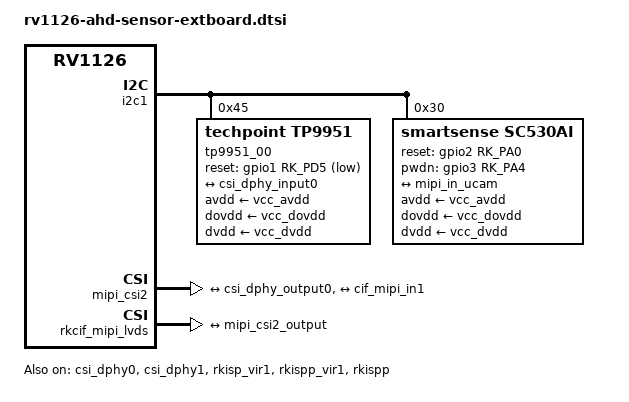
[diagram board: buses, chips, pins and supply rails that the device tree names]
// SPDX-License-Identifier: (GPL-2.0+ OR MIT)
/*
 * Copyright (c) 2023 Rockchip Electronics Co., Ltd.
 *
 * Version  Sensor      I2C_ADDR    Lanes
 * v1.0.0   adh(tp9951) 0x45        lane0~1(dphy1)
 *          sc500ai     0x30        lane2~3(dphy2)
 */

&i2c1 {
	/delete-node/ ar0230@10;
	/delete-node/ ov4689@36;
	/delete-node/ os04a10@36;
	// #/delete-node/ imx335@1a;
	// #/delete-node/ imx415@1a;
	/delete-node/ imx464@1a;
	tp9951_00: tp9951@45 {
		compatible = "techpoint,tp9951";
		status = "okay";
		reg = <0x45>;
		clocks = <&cru CLK_MIPICSI_OUT>;
		clock-names = "xvclk";
		power-domains = <&power RV1126_PD_VI>;
		pinctrl-names = "rockchip,camera_default";
		pinctrl-0 = <&mipicsi_clk0>;
		avdd-supply = <&vcc_avdd>;
		dovdd-supply = <&vcc_dovdd>;
		dvdd-supply = <&vcc_dvdd>;
		reset-gpios = <&gpio1 RK_PD5 GPIO_ACTIVE_LOW>;
		rockchip,camera-module-index = <0>;
		rockchip,camera-module-facing = "front";
		rockchip,camera-module-name = "tp9951";
		rockchip,camera-module-lens-name = "tp9951";
		port {
			ahd_out: endpoint {
				remote-endpoint = <&csi_dphy_input0>;
				data-lanes = <1 2>;
			};
		};
	};
	sc530ai: sc530ai@30 {
		compatible = "smartsense,sc530ai";
		status = "okay";
		reg = <0x30>;
		clocks = <&cru CLK_MIPICSI_OUT>;
		clock-names = "xvclk";
		power-domains = <&power RV1126_PD_VI>;
		pinctrl-names = "rockchip,camera_default";
		pinctrl-0 = <&mipicsi_clk1>;
		avdd-supply = <&vcc_avdd>;
		dovdd-supply = <&vcc_dovdd>;
		dvdd-supply = <&vcc_dvdd>;
		reset-gpios = <&gpio2 RK_PA0 GPIO_ACTIVE_HIGH>;
		pwdn-gpios = <&gpio3 RK_PA4 GPIO_ACTIVE_HIGH>;
		rockchip,camera-module-index = <1>;
		rockchip,camera-module-facing = "back";
		rockchip,camera-module-name = "CMK-OT1607-PV1";
		rockchip,camera-module-lens-name = "50IRC-F16";
		port {
			sc530ai_out: endpoint {
				remote-endpoint = <&mipi_in_ucam>;
				data-lanes = <1 2>;
			};
		};
	};
};

&csi_dphy0 {
	status = "okay";
	ports {
		#address-cells = <1>;
		#size-cells = <0>;
		port@0 {
			reg = <0>;
			#address-cells = <1>;
			#size-cells = <0>;
			csi_dphy_input0: endpoint@1 {
				reg = <1>;
				remote-endpoint = <&ahd_out>;
				data-lanes = <1 2>;
			};
		};
		port@1 {
			reg = <1>;
			#address-cells = <1>;
			#size-cells = <0>;
			csi_dphy_output0: endpoint@0 {
				reg = <0>;
				remote-endpoint = <&mipi_csi2_input>;
			};
		};
	};
};

&csi_dphy1 {
	status = "okay";
	ports {
		#address-cells = <1>;
		#size-cells = <0>;
		port@0 {
			reg = <0>;
			#address-cells = <1>;
			#size-cells = <0>;
			mipi_in_ucam: endpoint@1 {
				reg = <2>;
				remote-endpoint = <&sc530ai_out>;
				data-lanes = <1 2>;
			};
		};
		port@1 {
			reg = <1>;
			#address-cells = <1>;
			#size-cells = <0>;
			csi_dphy1_output: endpoint@0 {
				reg = <0>;
				remote-endpoint = <&isp_in1>;
			};
		};
	};
};

&mipi_csi2 {
	status = "okay";
	ports {
		port@0 {
			mipi_csi2_input: endpoint@1 {
				remote-endpoint = <&csi_dphy_output0>;
				data-lanes = <1 2>;
			};
		};
		port@1 {
			mipi_csi2_output: endpoint@0 {
				remote-endpoint = <&cif_mipi_in1>;
				data-lanes = <1 2>;
			};
		};
	};
};

&rkcif_mipi_lvds {
	status = "okay";
	port {
		cif_mipi_in1: endpoint {
			remote-endpoint = <&mipi_csi2_output>;
			data-lanes = <1 2>;
		};
	};
};

&rkcif_mipi_lvds_sditf {
	status = "disabled";
};

&rkisp_vir0 {
	status = "disabled";
};

&rkispp_vir0 {
	status = "disabled";
};

/* isp cma buffer don't fiddle with it, dual camera(1920 * 1080) need 92M buffer */
&isp_reserved {
	size = <0x6400000>;
};

&rkisp_vir1 {
	memory-region = <&isp_reserved>;
	status = "okay";
	ports {
		port@0 {
			reg = <0>;
			#address-cells = <1>;
			#size-cells = <0>;
			isp_in1: endpoint@0 {
				reg = <0>;
				remote-endpoint = <&csi_dphy1_output>;
			};
		};
	};
};

&rkispp_vir1 {
	status = "okay";
};

&rkispp {
	status = "okay";
	/* the max input w h and fps of mulit sensor */
	// max-input = <2560 1520 30>;
};
